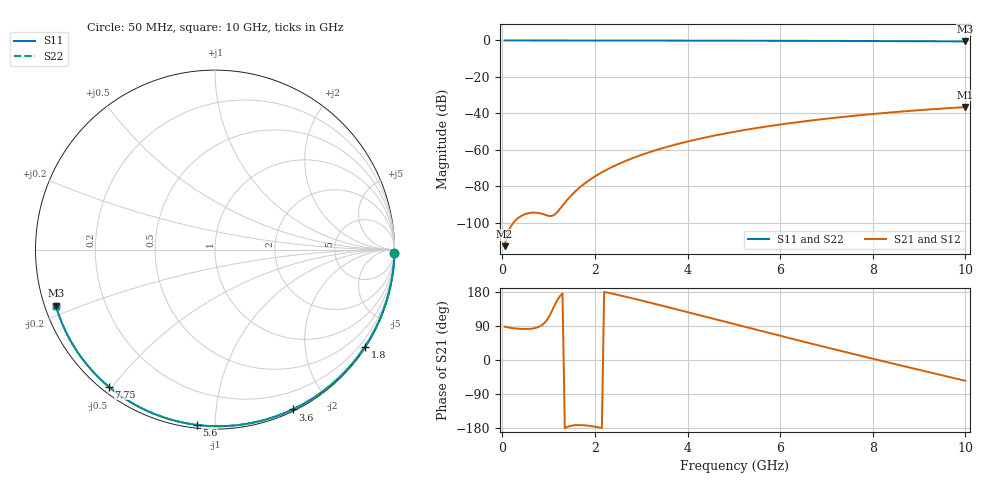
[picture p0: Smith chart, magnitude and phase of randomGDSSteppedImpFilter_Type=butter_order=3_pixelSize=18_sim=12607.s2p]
! freq	dB(S11)	phase(S11)	dB(S12)	phase(S12)
!  dB(S21)	phase(S21)	dB(S22)	phase(S22)
!S-par simulation data
#  GHz  S  DB  R 50
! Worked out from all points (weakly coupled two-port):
!   200 points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, 50 MHz to 10 GHz, reference 50 ohm
!   highest |S21| = -36.56 dB at 10 GHz (marker M1); lowest = -112.9 dB at 50 MHz (marker M2)
!   lowest |S11| = -0.5 dB at 10 GHz (marker M3), VSWR 32.35, Z = 1.59 - j8.52 ohm
!   |S11| at or under -10 dB: nowhere
!   |S22| runs from -0.5 to 0.0 dB; largest |S21 - S12| = 0
!   S11 on the Smith chart (normalised r, x): 50 MHz: open; 1.8 GHz: 0.03, -3.38; 3.6 GHz: 0.02, -1.60; 5.6 GHz: 0.02, -0.90; 7.75 GHz: 0.02, -0.49; 10 GHz: 0.03, -0.17
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0.05  -0.00 -0.9  -112.91 88.1  -112.91 88.1  -0.00 -0.9
0.45  -0.01 -8.4  -95.80 82.0  -95.80 82.0  -0.01 -8.4
0.85  -0.02 -15.7  -95.10 91.7  -95.10 91.7  -0.02 -15.7
1.25  -0.03 -23.0  -92.32 169.1  -92.32 169.1  -0.03 -23.0
1.7  -0.04 -31.1  -80.09 -171.8  -80.09 -171.8  -0.04 -31.1
1.75  -0.04 -32.0  -79.07 -172.2  -79.07 -172.2  -0.04 -32.0
1.8  -0.04 -32.9  -78.10 -172.7  -78.10 -172.7  -0.04 -32.9
2.1  -0.05 -38.3  -73.11 -178.1  -73.11 -178.1  -0.05 -38.2
2.3  -0.05 -41.8  -70.35 177.0  -70.35 177.0  -0.05 -41.8
2.5  -0.06 -45.3  -67.93 171.7  -67.93 171.7  -0.06 -45.3
2.9  -0.07 -52.2  -63.79 160.1  -63.79 160.1  -0.07 -52.2
3.4  -0.08 -60.7  -59.57 144.9  -59.57 144.9  -0.08 -60.7
3.6  -0.09 -64.1  -58.11 138.7  -58.11 138.7  -0.09 -64.0
4.3  -0.11 -75.6  -53.72 116.8  -53.72 116.8  -0.11 -75.5
5.05  -0.13 -87.5  -49.95 93.3  -49.95 93.3  -0.13 -87.4
5.6  -0.16 -96.0  -47.63 76.2  -47.63 76.2  -0.16 -95.9
6.15  -0.19 -104.3  -45.61 59.2  -45.61 59.2  -0.19 -104.3
6.7  -0.22 -112.5  -43.83 42.4  -43.83 42.4  -0.22 -112.4
7.75  -0.30 -127.8  -40.97 10.8  -40.97 10.8  -0.30 -127.7
8.35  -0.35 -136.5  -39.59 -6.9  -39.59 -6.9  -0.35 -136.4
9.2  -0.44 -148.8  -37.90 -31.8  -37.90 -31.8  -0.44 -148.7
10  -0.54 -160.6  -36.56 -54.9  -36.56 -54.9  -0.54 -160.5
